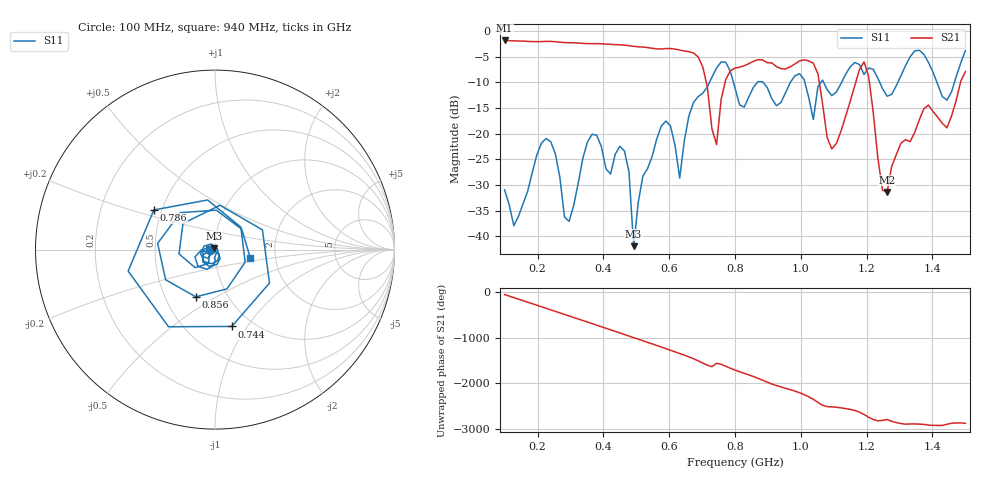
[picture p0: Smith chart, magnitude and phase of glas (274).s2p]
! NanoVNA-App
! Date: 2025-09-25 15:57:36
! Start: 100MHz Stop: 1,5GHz Points: 101
! S-Parameter data: F S11 S21 S12 S22
# Hz S RI R 50
!  Frequency  S11_Real  S11_Imag  S21_Real  S21_Imag  S12_Real  S12_Imag  S22_Real  S22_Imag
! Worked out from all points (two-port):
!   101 points, 100 MHz to 1.5 GHz, reference 50 ohm
!   highest |S21| = -1.80 dB at 100 MHz (marker M1); lowest = -31.4 dB at 1.262 GHz (marker M2)
!   |S21| within 3 dB of the highest: start of sweep to 684.1 MHz
!   lowest |S11| = -41.9 dB at 492 MHz (marker M3), VSWR 1.02, Z = 49.5 + j0.619 ohm
!   |S11| at or under -10 dB: start of sweep to 722.4 MHz; 795.4 MHz to 867.9 MHz (72.51 MHz wide, 8.72 % of centre); 885.8 MHz to 967.9 MHz (82.14 MHz wide, 8.86 % of centre) (the widest 3 of 7)
!   S12 and S22 are empty: the file has one direction only
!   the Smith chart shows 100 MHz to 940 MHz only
!   S11 on the Smith chart (normalised r, x): 100 MHz: 0.95, -0.01; 744 MHz: 0.80, -0.85; 786 MHz: 0.45, +0.24; 856 MHz: 0.71, -0.41; 940 MHz: 1.48, -0.15
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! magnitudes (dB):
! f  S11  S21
! 100 MHz  -30.9  -1.8
! 128 MHz  -37.9  -1.9
! 226 MHz  -20.9  -2.0
! 296 MHz  -37.1  -2.2
! 338 MHz  -24.7  -2.4
! 464 MHz  -23.3  -2.7
! 492 MHz  -41.9  -2.9
! 576 MHz  -18.5  -3.5
! 632 MHz  -28.6  -3.7
! 702 MHz  -12.1  -6.9
! 744 MHz  -7.2  -22.1
! 786 MHz  -7.8  -7.7
! 800 MHz  -11.1  -7.2
! 856 MHz  -10.9  -5.9
! 940 MHz  -13.9  -7.3
! 1.038 GHz  -17.2  -6.3
! 1.094 GHz  -12.6  -23.0
! 1.192 GHz  -8.4  -6.0
! 1.262 GHz  -12.7  -31.4
! 1.276 GHz  -12.3  -26.4
! 1.444 GHz  -13.4  -18.8
! 1.5 GHz  -3.8  -7.9
